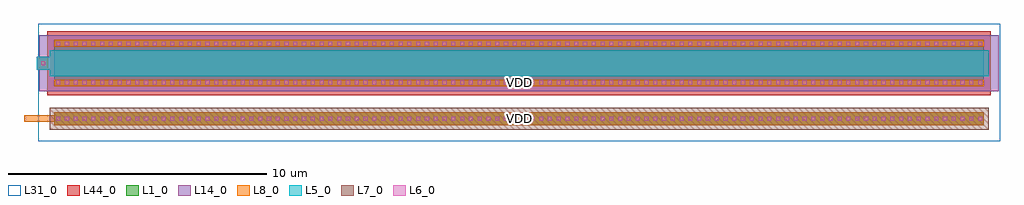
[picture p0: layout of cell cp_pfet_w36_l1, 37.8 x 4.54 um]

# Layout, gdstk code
import gdstk
lib = gdstk.Library(unit=1e-6, precision=1e-09)
def R(c, l, rs):  # rectangles x0, y0, x1, y1
    for r in rs: c.add(gdstk.rectangle(r[:2], r[2:], *l))
def A(c, l, x, y, w, h, nx, ny, dx, dy):  # array of equal rectangles
    R(c, l, [(x+i*dx, y+j*dy, x+i*dx+w, y+j*dy+h) for i in range(nx) for j in range(ny)])
L1_0 = (1, 0)
L5_0 = (5, 0)
L6_0 = (6, 0)
L7_0 = (7, 0)
L8_0 = (8, 0)
L14_0 = (14, 0)
L31_0 = (31, 0)
L44_0 = (44, 0)

cp_pfet_w36_l1 = lib.new_cell('cp_pfet_w36_l1')
R(cp_pfet_w36_l1, L1_0, [(1.3,0.96,37.3,1.46), (1.3,2.46,37.3,4.26)])
R(cp_pfet_w36_l1, L5_0, [(1.12,2.86,37.48,3.86), (0.62,3.11,1.12,3.61)])
A(cp_pfet_w36_l1, L6_0, 1.37, 1.13, 0.16, 0.16, 106, 2, 0.34, 1.4)
A(cp_pfet_w36_l1, L6_0, 1.37, 4.03, 0.16, 0.16, 106, 1, 0.34, 0)
R(cp_pfet_w36_l1, L6_0, [(0.79,3.28,0.95,3.44)])
R(cp_pfet_w36_l1, L7_0, [(1.12,0.78,37.48,1.64)])
R(cp_pfet_w36_l1, L8_0, [(1.3,0.96,37.3,1.46), (0.125,1.085,1.3,1.335), (1.3,2.46,37.3,2.72), (0.67,3.16,1.07,3.56), (1.3,4,37.3,4.26)])
R(cp_pfet_w36_l1, L14_0, [(0.72,2.28,37.88,4.44)])
R(cp_pfet_w36_l1, L31_0, [(0.68,0.34,37.92,4.88)])
R(cp_pfet_w36_l1, L44_0, [(1.03,2.12,37.57,4.6)])
cp_pfet_w36_l1.add(gdstk.Label('VDD', (19.3,1.21), layer=8, texttype=2))
cp_pfet_w36_l1.add(gdstk.Label('VDD', (19.3,2.61), layer=31, texttype=2))

lib.write_gds('cp_pfet_w36_l1.gds')
